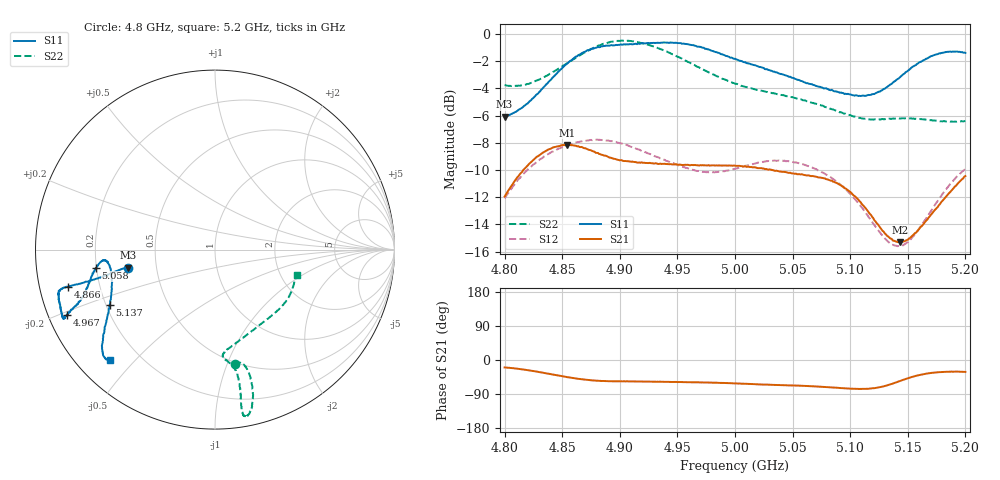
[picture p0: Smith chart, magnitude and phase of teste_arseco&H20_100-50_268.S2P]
! Network Analyzer HP8722D
! Hewlett-Packard
! Data name: Linha & Wilkinson
! Saver's name: Rodrigo Anjos
! Comments: Teste da utilização de aquisição
! continua pelo VNA HP8722D
! Time and date: 6/5/2025 14:48
!  Frequency  S11  S21  S12  S22
# HZ  S  MA R 50
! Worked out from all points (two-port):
!   401 points, 4.8 GHz to 5.2 GHz, reference 50 ohm
!   highest |S21| = -8.17 dB at 4.854 GHz (marker M1); lowest = -15.3 dB at 5.143 GHz (marker M2)
!   |S21| within 3 dB of the highest: 4.806 GHz to 5.092 GHz (286.5 MHz wide, 5.79 % of centre); 5.191705 GHz to end of sweep
!   lowest |S11| = -6.1 dB at 4.8 GHz (marker M3), VSWR 2.97, Z = 17 - j4.56 ohm
!   |S11| at or under -10 dB: nowhere
!   |S22| runs from -6.5 to -0.5 dB; largest |S21 - S12| = 0.62
!   S11 on the Smith chart (normalised r, x): 4.8 GHz: 0.34, -0.09; 4.866 GHz: 0.09, -0.12; 4.967 GHz: 0.06, -0.21; 5.058 GHz: 0.20, -0.07; 5.137 GHz: 0.22, -0.23; 5.2 GHz: 0.09, -0.42
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4.8e9  0.4965 -168.2  0.2523 -19.6  0.2487 -141.0  0.648 -80.3
4.826e9  0.5876 -167.3  0.3476 -29.7  0.3328 -144.6  0.6686 -75.7
4.854e9  0.7764 -165.8  0.3904 -45.1  0.3893 -149.9  0.7796 -74.7
4.866e9  0.8426 -165.8  0.3836 -50.3  0.4023 -151.9  0.8372 -75.3
4.867e9  0.8492 -165.8  0.384 -50.8  0.4028 -152.0  0.8424 -75.5
4.883e9  0.8948 -165.0  0.3613 -55.0  0.4079 -154.8  0.9091 -77.2
4.899e9  0.9113 -162.9  0.344 -56.5  0.3977 -156.6  0.9427 -79.1
4.934e9  0.9264 -156.5  0.3326 -57.5  0.351 -155.6  0.8832 -80.4
4.967e9  0.8986 -156.2  0.3288 -58.8  0.313 -148.0  0.758 -79.6
5e9  0.8102 -159.0  0.328 -61.8  0.3197 -137.3  0.6563 -81.3
5.035e9  0.7227 -165.3  0.3136 -65.9  0.342 -134.4  0.603 -85.6
5.058e9  0.6709 -171.3  0.3048 -68.1  0.3316 -136.1  0.5729 -84.5
5.067e9  0.6523 -173.0  0.3004 -69.2  0.3225 -136.7  0.5577 -82.6
5.085e9  0.6189 -174.4  0.2864 -72.7  0.2934 -138.4  0.5279 -75.8
5.102e9  0.5953 -171.8  0.2572 -76.0  0.2527 -138.7  0.4986 -66.0
5.116e9  0.5967 -165.5  0.2209 -75.9  0.2121 -135.5  0.4854 -55.8
5.134e9  0.6471 -154.1  0.1783 -65.2  0.1707 -120.7  0.4878 -43.2
5.137e9  0.662 -152.4  0.1738 -62.3  0.1678 -116.8  0.4884 -41.5
5.143e9  0.6917 -149.2  0.1714 -55.7  0.1659 -109.0  0.4883 -38.0
5.154e9  0.7566 -144.5  0.1812 -44.4  0.1791 -95.0  0.4879 -32.3
5.172e9  0.833 -139.0  0.2213 -33.5  0.2296 -81.1  0.4803 -24.6
5.2e9  0.8513 -133.6  0.3002 -31.3  0.3195 -76.9  0.4779 -17.6
